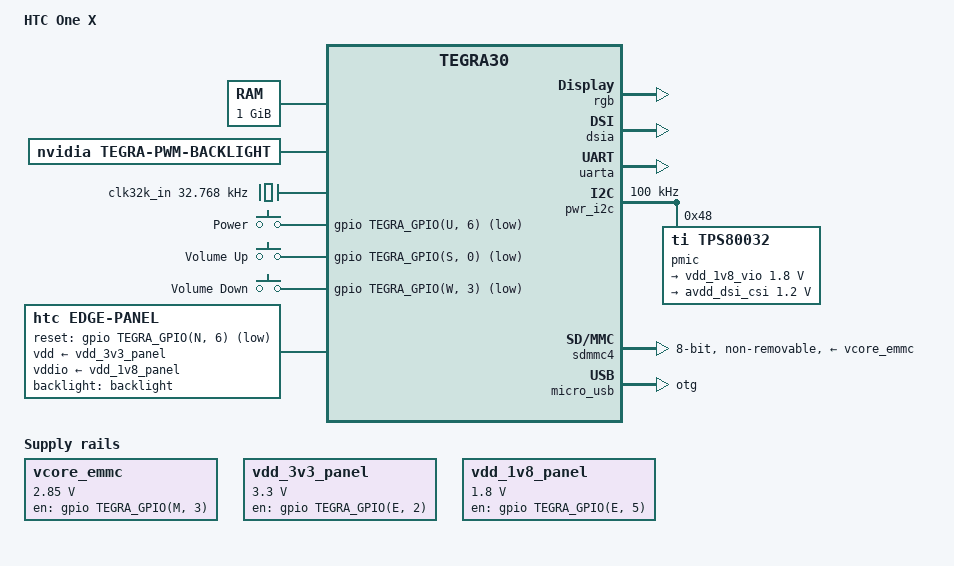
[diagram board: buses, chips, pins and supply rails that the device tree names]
// SPDX-License-Identifier: GPL-2.0
/dts-v1/;

/* This dts file describes the HTC One X smartphone */
/* CPU Speedo ID 4, Soc Speedo ID 1, CPU Process: 1, Core Process: 0 */

#include <dt-bindings/input/input.h>
#include "tegra30.dtsi"

/ {
	model = "HTC One X";
	compatible = "htc,endeavoru", "nvidia,tegra30";

	chosen {
		stdout-path = &uarta;
	};

	aliases {
		i2c0 = &pwr_i2c;

		mmc0 = &sdmmc4;	/* eMMC */

		rtc0 = &pmic;
		rtc1 = "/rtc@7000e000";

		usb0 = &micro_usb;
	};

	memory {
		device_type = "memory";
		reg = <0x80000000 0x40000000>;
	};

	host1x@50000000 {
		dc@54200000 {
			clocks = <&tegra_car TEGRA30_CLK_DISP1>,
				 <&tegra_car TEGRA30_CLK_PLL_D_OUT0>;

			rgb {
				status = "okay";

				nvidia,panel = <&dsia>;
			};
		};

		dsia: dsi@54300000 {
			status = "okay";

			avdd-dsi-csi-supply = <&avdd_dsi_csi>;

			panel = <&panel>;
		};
	};

	pinmux@70000868 {
		pinctrl-names = "default";
		pinctrl-0 = <&state_default>;

		state_default: pinmux {
			/* PORT A */
			clk_32k_out {
				nvidia,pins = "clk_32k_out_pa0";
				nvidia,function = "blink";
				nvidia,pull = <TEGRA_PIN_PULL_NONE>;
				nvidia,tristate = <TEGRA_PIN_DISABLE>;
				nvidia,enable-input = <TEGRA_PIN_DISABLE>;
			};
			bt_uart_cts {
				nvidia,pins = "uart3_cts_n_pa1";
				nvidia,function = "uartc";
				nvidia,pull = <TEGRA_PIN_PULL_UP>;
				nvidia,tristate = <TEGRA_PIN_DISABLE>;
				nvidia,enable-input = <TEGRA_PIN_ENABLE>;
			};
			aud_aic3008_i2s {
				nvidia,pins = "dap2_fs_pa2",
						"dap2_sclk_pa3",
						"dap2_din_pa4",
						"dap2_dout_pa5";
				nvidia,function = "i2s1";
				nvidia,pull = <TEGRA_PIN_PULL_DOWN>;
				nvidia,tristate = <TEGRA_PIN_DISABLE>;
				nvidia,enable-input = <TEGRA_PIN_ENABLE>;
			};
			wifi_sdio_clock {
				nvidia,pins = "sdmmc3_clk_pa6";
				nvidia,function = "sdmmc3";
				nvidia,pull = <TEGRA_PIN_PULL_NONE>;
				nvidia,tristate = <TEGRA_PIN_DISABLE>;
				nvidia,enable-input = <TEGRA_PIN_ENABLE>;
			};
			wifi_sdio_command {
				nvidia,pins = "sdmmc3_cmd_pa7";
				nvidia,function = "sdmmc3";
				nvidia,pull = <TEGRA_PIN_PULL_UP>;
				nvidia,tristate = <TEGRA_PIN_DISABLE>;
				nvidia,enable-input = <TEGRA_PIN_ENABLE>;
			};

			/* PORT B */
			mdm_imc_uart {
				nvidia,pins = "gmi_a17_pb0",
						"gmi_a18_pb1";
				nvidia,function = "uartd";
				nvidia,pull = <TEGRA_PIN_PULL_NONE>;
				nvidia,tristate = <TEGRA_PIN_DISABLE>;
				nvidia,enable-input = <TEGRA_PIN_ENABLE>;
			};
			aud_3v3_en {
				nvidia,pins = "lcd_pwr0_pb2",
						"lcd_pclk_pb3";
				nvidia,function = "displaya";
				nvidia,pull = <TEGRA_PIN_PULL_NONE>;
				nvidia,tristate = <TEGRA_PIN_DISABLE>;
				nvidia,enable-input = <TEGRA_PIN_ENABLE>;
			};
			wifi_sdio_data {
				nvidia,pins = "sdmmc3_dat3_pb4",
						"sdmmc3_dat2_pb5",
						"sdmmc3_dat1_pb6",
						"sdmmc3_dat0_pb7";
				nvidia,function = "sdmmc3";
				nvidia,pull = <TEGRA_PIN_PULL_UP>;
				nvidia,tristate = <TEGRA_PIN_DISABLE>;
				nvidia,enable-input = <TEGRA_PIN_ENABLE>;
			};

			/* PORT C */
			bt_uart_rts {
				nvidia,pins = "uart3_rts_n_pc0";
				nvidia,function = "uartc";
				nvidia,pull = <TEGRA_PIN_PULL_NONE>;
				nvidia,tristate = <TEGRA_PIN_DISABLE>;
				nvidia,enable-input = <TEGRA_PIN_DISABLE>;
			};
			mdm_ap2bb_rst_pwrdwn {
				nvidia,pins = "lcd_pwr1_pc1";
				nvidia,function = "rsvd4";
				nvidia,pull = <TEGRA_PIN_PULL_NONE>;
				nvidia,tristate = <TEGRA_PIN_DISABLE>;
				nvidia,enable-input = <TEGRA_PIN_DISABLE>;
			};
			cam_spi_clk_do {
				nvidia,pins = "uart2_txd_pc2",
						"uart2_rxd_pc3";
				nvidia,function = "spi4";
				nvidia,pull = <TEGRA_PIN_PULL_NONE>;
				nvidia,tristate = <TEGRA_PIN_DISABLE>;
				nvidia,enable-input = <TEGRA_PIN_ENABLE>;
			};
			per_sensor_i2c {
				nvidia,pins = "gen1_i2c_scl_pc4",
						"gen1_i2c_sda_pc5";
				nvidia,function = "i2c1";
				nvidia,pull = <TEGRA_PIN_PULL_NONE>;
				nvidia,tristate = <TEGRA_PIN_DISABLE>;
				nvidia,enable-input = <TEGRA_PIN_ENABLE>;
				nvidia,open-drain = <TEGRA_PIN_ENABLE>;
			};
			mdm_ap2bb_slave_wakeup {
				nvidia,pins = "lcd_pwr2_pc6";
				nvidia,function = "displaya";
				nvidia,pull = <TEGRA_PIN_PULL_NONE>;
				nvidia,tristate = <TEGRA_PIN_DISABLE>;
				nvidia,enable-input = <TEGRA_PIN_DISABLE>;
			};
			mhl_int {
				nvidia,pins = "gmi_wp_n_pc7";
				nvidia,function = "rsvd1";
				nvidia,pull = <TEGRA_PIN_PULL_UP>;
				nvidia,tristate = <TEGRA_PIN_DISABLE>;
				nvidia,enable-input = <TEGRA_PIN_ENABLE>;
			};

			/* PORT D */
			sdmmc3_data {
				nvidia,pins = "sdmmc3_dat5_pd0",
						"sdmmc3_dat4_pd1";
				nvidia,function = "sdmmc3";
				nvidia,pull = <TEGRA_PIN_PULL_UP>;
				nvidia,tristate = <TEGRA_PIN_DISABLE>;
				nvidia,enable-input = <TEGRA_PIN_ENABLE>;
			};
			aud_1v8_en {
				nvidia,pins = "lcd_dc1_pd2";
				nvidia,function = "rsvd4";
				nvidia,pull = <TEGRA_PIN_PULL_NONE>;
				nvidia,tristate = <TEGRA_PIN_DISABLE>;
				nvidia,enable-input = <TEGRA_PIN_ENABLE>;
			};
			sdmmc3_dat6_pd3 {
				nvidia,pins = "sdmmc3_dat6_pd3",
						"sdmmc3_dat7_pd4";
				nvidia,function = "rsvd1";
				nvidia,pull = <TEGRA_PIN_PULL_NONE>;
				nvidia,tristate = <TEGRA_PIN_DISABLE>;
				nvidia,enable-input = <TEGRA_PIN_ENABLE>;
			};

			/* PORT E */
			mhl_usb_sel {
				nvidia,pins = "lcd_d0_pe0";
				nvidia,function = "displaya";
				nvidia,pull = <TEGRA_PIN_PULL_NONE>;
				nvidia,tristate = <TEGRA_PIN_DISABLE>;
				nvidia,enable-input = <TEGRA_PIN_DISABLE>;
			};
			lcd_d1_pe1 {
				nvidia,pins = "lcd_d1_pe1";
				nvidia,function = "displaya";
				nvidia,pull = <TEGRA_PIN_PULL_NONE>;
				nvidia,tristate = <TEGRA_PIN_DISABLE>;
				nvidia,enable-input = <TEGRA_PIN_ENABLE>;
			};
			peh_cap_int {
				nvidia,pins = "lcd_d2_pe2";
				nvidia,function = "rsvd3";
				nvidia,pull = <TEGRA_PIN_PULL_NONE>;
				nvidia,tristate = <TEGRA_PIN_DISABLE>;
				nvidia,enable-input = <TEGRA_PIN_DISABLE>;
			};
			mhl_1v2_en {
				nvidia,pins = "lcd_d3_pe3",
						"lcd_d4_pe4";
				nvidia,function = "displaya";
				nvidia,pull = <TEGRA_PIN_PULL_NONE>;
				nvidia,tristate = <TEGRA_PIN_DISABLE>;
				nvidia,enable-input = <TEGRA_PIN_ENABLE>;
			};
			dsp_lcm_1v8_en {
				nvidia,pins = "lcd_d5_pe5";
				nvidia,function = "displaya";
				nvidia,pull = <TEGRA_PIN_PULL_NONE>;
				nvidia,tristate = <TEGRA_PIN_DISABLE>;
				nvidia,enable-input = <TEGRA_PIN_ENABLE>;
			};
			mhl_rst {
				nvidia,pins = "lcd_d6_pe6";
				nvidia,function = "rsvd3";
				nvidia,pull = <TEGRA_PIN_PULL_NONE>;
				nvidia,tristate = <TEGRA_PIN_DISABLE>;
				nvidia,enable-input = <TEGRA_PIN_ENABLE>;
			};
			peh_vibrator_on {
				nvidia,pins = "lcd_d7_pe7";
				nvidia,function = "displaya";
				nvidia,pull = <TEGRA_PIN_PULL_NONE>;
				nvidia,tristate = <TEGRA_PIN_DISABLE>;
				nvidia,enable-input = <TEGRA_PIN_ENABLE>;
			};

			/* PORT F */
			cam_vcm_2v85_pwr {
				nvidia,pins = "lcd_d8_pf0";
				nvidia,function = "rsvd4";
				nvidia,pull = <TEGRA_PIN_PULL_UP>;
				nvidia,tristate = <TEGRA_PIN_DISABLE>;
				nvidia,enable-input = <TEGRA_PIN_ENABLE>;
			};
			lcd_d9_d13 {
				nvidia,pins = "lcd_d9_pf1",
						"lcd_d10_pf2",
						"lcd_d11_pf3",
						"lcd_d12_pf4",
						"lcd_d13_pf5";
				nvidia,function = "displaya";
				nvidia,pull = <TEGRA_PIN_PULL_NONE>;
				nvidia,tristate = <TEGRA_PIN_DISABLE>;
				nvidia,enable-input = <TEGRA_PIN_ENABLE>;
			};
			cam_cam2_core_1v8_en {
				nvidia,pins = "lcd_d14_pf6";
				nvidia,function = "rsvd4";
				nvidia,pull = <TEGRA_PIN_PULL_NONE>;
				nvidia,tristate = <TEGRA_PIN_DISABLE>;
				nvidia,enable-input = <TEGRA_PIN_ENABLE>;
			};
			sys_pmu_msecure {
				nvidia,pins = "lcd_d15_pf7";
				nvidia,function = "rsvd4";
				nvidia,pull = <TEGRA_PIN_PULL_NONE>;
				nvidia,tristate = <TEGRA_PIN_DISABLE>;
				nvidia,enable-input = <TEGRA_PIN_DISABLE>;
			};

			/* PORT G */
			bootstraps {
				nvidia,pins = "gmi_ad0_pg0",
						"gmi_ad1_pg1",
						"gmi_ad2_pg2",
						"gmi_ad3_pg3",
						"gmi_ad4_pg4",
						"gmi_ad5_pg5",
						"gmi_ad6_pg6",
						"gmi_ad7_pg7";
				nvidia,function = "rsvd4";
				nvidia,pull = <TEGRA_PIN_PULL_NONE>;
				nvidia,tristate = <TEGRA_PIN_DISABLE>;
				nvidia,enable-input = <TEGRA_PIN_ENABLE>;
			};

			/* PORT H */
			haptic_pwm {
				nvidia,pins = "gmi_ad8_ph0";
				nvidia,function = "pwm0";
				nvidia,pull = <TEGRA_PIN_PULL_NONE>;
				nvidia,tristate = <TEGRA_PIN_DISABLE>;
				nvidia,enable-input = <TEGRA_PIN_DISABLE>;
			};
			gmi_ad9 {
				nvidia,pins = "gmi_ad9_ph1";
				nvidia,function = "rsvd4";
				nvidia,pull = <TEGRA_PIN_PULL_NONE>;
				nvidia,tristate = <TEGRA_PIN_DISABLE>;
				nvidia,enable-input = <TEGRA_PIN_ENABLE>;
			};
			gmi_ad10 {
				nvidia,pins = "gmi_ad10_ph2";
				nvidia,function = "nand";
				nvidia,pull = <TEGRA_PIN_PULL_NONE>;
				nvidia,tristate = <TEGRA_PIN_DISABLE>;
				nvidia,enable-input = <TEGRA_PIN_DISABLE>;
			};
			dsp_tp_rst {
				nvidia,pins = "gmi_ad11_ph3",
						"gmi_ad12_ph4",
						"gmi_ad13_ph5",
						"gmi_ad14_ph6";
				nvidia,function = "rsvd4";
				nvidia,pull = <TEGRA_PIN_PULL_NONE>;
				nvidia,tristate = <TEGRA_PIN_DISABLE>;
				nvidia,enable-input = <TEGRA_PIN_ENABLE>;
			};
			gmi_ad15 {
				nvidia,pins = "gmi_ad15_ph7";
				nvidia,function = "nand";
				nvidia,pull = <TEGRA_PIN_PULL_UP>;
				nvidia,tristate = <TEGRA_PIN_ENABLE>;
				nvidia,enable-input = <TEGRA_PIN_ENABLE>;
			};

			/* PORT I */
			gmi_wr_n {
				nvidia,pins = "gmi_wr_n_pi0",
						"gmi_oe_n_pi1",
						"gmi_dqs_pi2",
						"gmi_cs6_n_pi3";
				nvidia,function = "rsvd4";
				nvidia,pull = <TEGRA_PIN_PULL_NONE>;
				nvidia,tristate = <TEGRA_PIN_DISABLE>;
				nvidia,enable-input = <TEGRA_PIN_ENABLE>;
			};
			gmi_rst_n_pi4 {
				nvidia,pins = "gmi_rst_n_pi4";
				nvidia,function = "rsvd4";
				nvidia,pull = <TEGRA_PIN_PULL_UP>;
				nvidia,tristate = <TEGRA_PIN_ENABLE>;
				nvidia,enable-input = <TEGRA_PIN_ENABLE>;
			};
			sim_detect {
				nvidia,pins = "gmi_iordy_pi5";
				nvidia,function = "rsvd1";
				nvidia,pull = <TEGRA_PIN_PULL_NONE>;
				nvidia,tristate = <TEGRA_PIN_ENABLE>;
				nvidia,enable-input = <TEGRA_PIN_ENABLE>;
			};
			peh_gyr_int {
				nvidia,pins = "gmi_cs7_n_pi6",
						"gmi_wait_pi7";
				nvidia,function = "rsvd4";
				nvidia,pull = <TEGRA_PIN_PULL_NONE>;
				nvidia,tristate = <TEGRA_PIN_DISABLE>;
				nvidia,enable-input = <TEGRA_PIN_ENABLE>;
			};

			/* PORT J */
			mdm_bb2ap_host_wakeup {
				nvidia,pins = "gmi_cs0_n_pj0";
				nvidia,function = "gmi";
				nvidia,pull = <TEGRA_PIN_PULL_NONE>;
				nvidia,tristate = <TEGRA_PIN_DISABLE>;
				nvidia,enable-input = <TEGRA_PIN_ENABLE>;
			};
			dsp_lcm_de {
				nvidia,pins = "lcd_de_pj1";
				nvidia,function = "displaya";
				nvidia,pull = <TEGRA_PIN_PULL_NONE>;
				nvidia,tristate = <TEGRA_PIN_DISABLE>;
				nvidia,enable-input = <TEGRA_PIN_ENABLE>;
			};
			peh_comp_int {
				nvidia,pins = "gmi_cs1_n_pj2";
				nvidia,function = "rsvd1";
				nvidia,pull = <TEGRA_PIN_PULL_NONE>;
				nvidia,tristate = <TEGRA_PIN_DISABLE>;
				nvidia,enable-input = <TEGRA_PIN_ENABLE>;
			};
			lcd_hsync {
				nvidia,pins = "lcd_hsync_pj3";
				nvidia,function = "displaya";
				nvidia,pull = <TEGRA_PIN_PULL_NONE>;
				nvidia,tristate = <TEGRA_PIN_DISABLE>;
				nvidia,enable-input = <TEGRA_PIN_ENABLE>;
			};
			mdm_ap_usb_uart_oe {
				nvidia,pins = "lcd_vsync_pj4";
				nvidia,function = "displaya";
				nvidia,pull = <TEGRA_PIN_PULL_DOWN>;
				nvidia,tristate = <TEGRA_PIN_DISABLE>;
				nvidia,enable-input = <TEGRA_PIN_ENABLE>;
			};
			mcam_spi_di_cs0 {
				nvidia,pins = "uart2_cts_n_pj5",
						"uart2_rts_n_pj6";
				nvidia,function = "spi4";
				nvidia,pull = <TEGRA_PIN_PULL_NONE>;
				nvidia,tristate = <TEGRA_PIN_DISABLE>;
				nvidia,enable-input = <TEGRA_PIN_ENABLE>;
			};
			mdm_tx {
				nvidia,pins = "gmi_a16_pj7";
				nvidia,function = "uartd";
				nvidia,pull = <TEGRA_PIN_PULL_NONE>;
				nvidia,tristate = <TEGRA_PIN_DISABLE>;
				nvidia,enable-input = <TEGRA_PIN_DISABLE>;
			};

			/* PORT K */
			gmi_adv_n {
				nvidia,pins = "gmi_adv_n_pk0",
						"gmi_clk_pk1",
						"gmi_cs2_n_pk3";
				nvidia,function = "rsvd4";
				nvidia,pull = <TEGRA_PIN_PULL_NONE>;
				nvidia,tristate = <TEGRA_PIN_DISABLE>;
				nvidia,enable-input = <TEGRA_PIN_ENABLE>;
			};
			gmi_cs4_n {
				nvidia,pins = "gmi_cs4_n_pk2";
				nvidia,function = "rsvd4";
				nvidia,pull = <TEGRA_PIN_PULL_UP>;
				nvidia,tristate = <TEGRA_PIN_DISABLE>;
				nvidia,enable-input = <TEGRA_PIN_ENABLE>;
			};
			gmi_cs3_n {
				nvidia,pins = "gmi_cs3_n_pk4";
				nvidia,function = "rsvd1";
				nvidia,pull = <TEGRA_PIN_PULL_NONE>;
				nvidia,tristate = <TEGRA_PIN_DISABLE>;
				nvidia,enable-input = <TEGRA_PIN_ENABLE>;
			};
			spdif_out {
				nvidia,pins = "spdif_out_pk5";
				nvidia,function = "spdif";
				nvidia,pull = <TEGRA_PIN_PULL_NONE>;
				nvidia,tristate = <TEGRA_PIN_ENABLE>;
				nvidia,enable-input = <TEGRA_PIN_DISABLE>;
			};
			spdif_in {
				nvidia,pins = "spdif_in_pk6";
				nvidia,function = "spdif";
				nvidia,pull = <TEGRA_PIN_PULL_NONE>;
				nvidia,tristate = <TEGRA_PIN_ENABLE>;
				nvidia,enable-input = <TEGRA_PIN_ENABLE>;
			};
			mdm_rts {
				nvidia,pins = "gmi_a19_pk7";
				nvidia,function = "uartd";
				nvidia,pull = <TEGRA_PIN_PULL_NONE>;
				nvidia,tristate = <TEGRA_PIN_DISABLE>;
				nvidia,enable-input = <TEGRA_PIN_DISABLE>;
			};

			/* PORT L */
			port_l {
				nvidia,pins = "vi_d2_pl0",
						"vi_d3_pl1",
						"vi_d4_pl2",
						"vi_d5_pl3",
						"vi_d6_pl4",
						"vi_d7_pl5",
						"vi_d8_pl6",
						"vi_d9_pl7";
				nvidia,function = "sdmmc2";
				nvidia,pull = <TEGRA_PIN_PULL_NONE>;
				nvidia,tristate = <TEGRA_PIN_DISABLE>;
				nvidia,enable-input = <TEGRA_PIN_ENABLE>;
			};

			/* PORT M */
			dsp_lcd_id {
				nvidia,pins = "lcd_d16_pm0",
						"lcd_d17_pm1";
				nvidia,function = "displaya";
				nvidia,pull = <TEGRA_PIN_PULL_NONE>;
				nvidia,tristate = <TEGRA_PIN_DISABLE>;
				nvidia,enable-input = <TEGRA_PIN_ENABLE>;
			};
			front_cam_rst {
				nvidia,pins = "lcd_d18_pm2";
				nvidia,function = "rsvd4";
				nvidia,pull = <TEGRA_PIN_PULL_NONE>;
				nvidia,tristate = <TEGRA_PIN_DISABLE>;
				nvidia,enable-input = <TEGRA_PIN_ENABLE>;
			};
			mdm_v_dcin_modem_en {
				nvidia,pins = "lcd_d19_pm3",
						"lcd_d20_pm4";
				nvidia,function = "rsvd4";
				nvidia,pull = <TEGRA_PIN_PULL_NONE>;
				nvidia,tristate = <TEGRA_PIN_DISABLE>;
				nvidia,enable-input = <TEGRA_PIN_DISABLE>;
			};
			nfc_pins {
				nvidia,pins = "lcd_d21_pm5",
						"lcd_d22_pm6";
				nvidia,function = "rsvd4";
				nvidia,pull = <TEGRA_PIN_PULL_NONE>;
				nvidia,tristate = <TEGRA_PIN_DISABLE>;
				nvidia,enable-input = <TEGRA_PIN_DISABLE>;
			};
			cam_vaa_2v85_en {
				nvidia,pins = "lcd_d23_pm7";
				nvidia,function = "rsvd4";
				nvidia,pull = <TEGRA_PIN_PULL_NONE>;
				nvidia,tristate = <TEGRA_PIN_DISABLE>;
				nvidia,enable-input = <TEGRA_PIN_ENABLE>;
			};

			/* PORT N */
			mdm_ap2bb_rst_host_pwr {
				nvidia,pins = "dap1_fs_pn0",
						"dap1_din_pn1",
						"dap1_sclk_pn3";
				nvidia,function = "i2s0";
				nvidia,pull = <TEGRA_PIN_PULL_NONE>;
				nvidia,tristate = <TEGRA_PIN_ENABLE>;
				nvidia,enable-input = <TEGRA_PIN_DISABLE>;
			};
			mdm_bb_fatal_int {
				nvidia,pins = "dap1_dout_pn2";
				nvidia,function = "i2s0";
				nvidia,pull = <TEGRA_PIN_PULL_NONE>;
				nvidia,tristate = <TEGRA_PIN_ENABLE>;
				nvidia,enable-input = <TEGRA_PIN_ENABLE>;
			};
			lcd_cs0_n {
				nvidia,pins = "lcd_cs0_n_pn4";
				nvidia,function = "rsvd4";
				nvidia,pull = <TEGRA_PIN_PULL_NONE>;
				nvidia,tristate = <TEGRA_PIN_DISABLE>;
				nvidia,enable-input = <TEGRA_PIN_ENABLE>;
			};
			lcd_sdout {
				nvidia,pins = "lcd_sdout_pn5";
				nvidia,function = "displaya";
				nvidia,pull = <TEGRA_PIN_PULL_NONE>;
				nvidia,tristate = <TEGRA_PIN_DISABLE>;
				nvidia,enable-input = <TEGRA_PIN_ENABLE>;
			};
			dsp_lcd_rst {
				nvidia,pins = "lcd_dc0_pn6";
				nvidia,function = "displaya";
				nvidia,pull = <TEGRA_PIN_PULL_NONE>;
				nvidia,tristate = <TEGRA_PIN_DISABLE>;
				nvidia,enable-input = <TEGRA_PIN_ENABLE>;
			};
			mhl_hpd {
				nvidia,pins = "hdmi_int_pn7";
				nvidia,function = "rsvd1";
				nvidia,pull = <TEGRA_PIN_PULL_NONE>;
				nvidia,tristate = <TEGRA_PIN_ENABLE>;
				nvidia,enable-input = <TEGRA_PIN_ENABLE>;
			};

			/* PORT O */
			ap_usb_uart_sel {
				nvidia,pins = "ulpi_data7_po0";
				nvidia,function = "spi2";
				nvidia,pull = <TEGRA_PIN_PULL_NONE>;
				nvidia,tristate = <TEGRA_PIN_DISABLE>;
				nvidia,enable-input = <TEGRA_PIN_ENABLE>;
			};
			bsp_ap_debug_tx {
				nvidia,pins = "ulpi_data0_po1";
				nvidia,function = "uarta";
				nvidia,pull = <TEGRA_PIN_PULL_NONE>;
				nvidia,tristate = <TEGRA_PIN_DISABLE>;
				nvidia,enable-input = <TEGRA_PIN_DISABLE>;
			};
			bsp_ap_debug_rx {
				nvidia,pins = "ulpi_data1_po2";
				nvidia,function = "uarta";
				nvidia,pull = <TEGRA_PIN_PULL_NONE>;
				nvidia,tristate = <TEGRA_PIN_DISABLE>;
				nvidia,enable-input = <TEGRA_PIN_ENABLE>;
			};
			ulpi_data2 {
				nvidia,pins = "ulpi_data2_po3";
				nvidia,function = "spi3";
				nvidia,pull = <TEGRA_PIN_PULL_NONE>;
				nvidia,tristate = <TEGRA_PIN_DISABLE>;
				nvidia,enable-input = <TEGRA_PIN_ENABLE>;
			};
			con_wifi_irq {
				nvidia,pins = "ulpi_data3_po4";
				nvidia,function = "hsi";
				nvidia,pull = <TEGRA_PIN_PULL_NONE>;
				nvidia,tristate = <TEGRA_PIN_DISABLE>;
				nvidia,enable-input = <TEGRA_PIN_ENABLE>;
			};
			per_gsensor_int {
				nvidia,pins = "ulpi_data4_po5";
				nvidia,function = "ulpi";
				nvidia,pull = <TEGRA_PIN_PULL_DOWN>;
				nvidia,tristate = <TEGRA_PIN_DISABLE>;
				nvidia,enable-input = <TEGRA_PIN_ENABLE>;
			};
			ulpi_data5_data6 {
				nvidia,pins = "ulpi_data5_po6",
						"ulpi_data6_po7";
				nvidia,function = "ulpi";
				nvidia,pull = <TEGRA_PIN_PULL_NONE>;
				nvidia,tristate = <TEGRA_PIN_DISABLE>;
				nvidia,enable-input = <TEGRA_PIN_ENABLE>;
			};

			/* PORT P */
			aud_ap_pcm {
				nvidia,pins = "dap3_fs_pp0",
						"dap3_din_pp1",
						"dap3_dout_pp2",
						"dap3_sclk_pp3";
				nvidia,function = "i2s2";
				nvidia,pull = <TEGRA_PIN_PULL_NONE>;
				nvidia,tristate = <TEGRA_PIN_DISABLE>;
				nvidia,enable-input = <TEGRA_PIN_ENABLE>;
			};
			aud_btpcm {
				nvidia,pins = "dap4_fs_pp4",
						"dap4_din_pp5";
				nvidia,function = "i2s3";
				nvidia,pull = <TEGRA_PIN_PULL_DOWN>;
				nvidia,tristate = <TEGRA_PIN_DISABLE>;
				nvidia,enable-input = <TEGRA_PIN_ENABLE>;
			};
			aud_ext {
				nvidia,pins = "dap4_dout_pp6",
						"dap4_sclk_pp7";
				nvidia,function = "rsvd4";
				nvidia,pull = <TEGRA_PIN_PULL_NONE>;
				nvidia,tristate = <TEGRA_PIN_DISABLE>;
				nvidia,enable-input = <TEGRA_PIN_DISABLE>;
			};

			/* PORT Q */
			port_q {
				nvidia,pins = "kb_col0_pq0",
						"kb_col1_pq1",
						"kb_col2_pq2",
						"kb_col3_pq3",
						"kb_col4_pq4",
						"kb_col5_pq5",
						"kb_col6_pq6",
						"kb_col7_pq7";
				nvidia,function = "kbc";
				nvidia,pull = <TEGRA_PIN_PULL_UP>;
				nvidia,tristate = <TEGRA_PIN_DISABLE>;
				nvidia,enable-input = <TEGRA_PIN_ENABLE>;
			};

			/* PORT R */
			raw_intr0 {
				nvidia,pins = "kb_row0_pr0";
				nvidia,function = "kbc";
				nvidia,pull = <TEGRA_PIN_PULL_NONE>;
				nvidia,tristate = <TEGRA_PIN_ENABLE>;
				nvidia,enable-input = <TEGRA_PIN_ENABLE>;
			};
			per_torch_en {
				nvidia,pins = "kb_row1_pr1";
				nvidia,function = "kbc";
				nvidia,pull = <TEGRA_PIN_PULL_NONE>;
				nvidia,tristate = <TEGRA_PIN_DISABLE>;
				nvidia,enable-input = <TEGRA_PIN_DISABLE>;
			};
			gyro_pwr {
				nvidia,pins = "kb_row2_pr2";
				nvidia,function = "rsvd4";
				nvidia,pull = <TEGRA_PIN_PULL_NONE>;
				nvidia,tristate = <TEGRA_PIN_DISABLE>;
				nvidia,enable-input = <TEGRA_PIN_DISABLE>;
			};
			haptic_en {
				nvidia,pins = "kb_row3_pr3";
				nvidia,function = "rsvd3";
				nvidia,pull = <TEGRA_PIN_PULL_NONE>;
				nvidia,tristate = <TEGRA_PIN_DISABLE>;
				nvidia,enable-input = <TEGRA_PIN_ENABLE>;
			};
			kb_row4_row5 {
				nvidia,pins = "kb_row4_pr4",
						"kb_row5_pr5";
				nvidia,function = "rsvd4";
				nvidia,pull = <TEGRA_PIN_PULL_NONE>;
				nvidia,tristate = <TEGRA_PIN_DISABLE>;
				nvidia,enable-input = <TEGRA_PIN_ENABLE>;
			};
			cam_id {
				nvidia,pins = "kb_row6_pr6",
						"kb_row7_pr7";
				nvidia,function = "kbc";
				nvidia,pull = <TEGRA_PIN_PULL_NONE>;
				nvidia,tristate = <TEGRA_PIN_ENABLE>;
				nvidia,enable-input = <TEGRA_PIN_ENABLE>;
			};

			/* PORT S */
			dsp_vol_up {
				nvidia,pins = "kb_row8_ps0";
				nvidia,function = "kbc";
				nvidia,pull = <TEGRA_PIN_PULL_UP>;
				nvidia,tristate = <TEGRA_PIN_DISABLE>;
				nvidia,enable-input = <TEGRA_PIN_ENABLE>;
			};
			con_usb_id_1 {
				nvidia,pins = "kb_row9_ps1",
						"kb_row10_ps2";
				nvidia,function = "kbc";
				nvidia,pull = <TEGRA_PIN_PULL_NONE>;
				nvidia,tristate = <TEGRA_PIN_DISABLE>;
				nvidia,enable-input = <TEGRA_PIN_ENABLE>;
			};
			port_s {
				nvidia,pins = "kb_row11_ps3",
						"kb_row12_ps4",
						"kb_row13_ps5",
						"kb_row14_ps6",
						"kb_row15_ps7";
				nvidia,function = "kbc";
				nvidia,pull = <TEGRA_PIN_PULL_NONE>;
				nvidia,tristate = <TEGRA_PIN_DISABLE>;
				nvidia,enable-input = <TEGRA_PIN_ENABLE>;
			};

			/* PORT T */
			dsp_tw_i2c {
				nvidia,pins = "gen2_i2c_scl_pt5",
						"gen2_i2c_sda_pt6";
				nvidia,function = "i2c2";
				nvidia,pull = <TEGRA_PIN_PULL_NONE>;
				nvidia,tristate = <TEGRA_PIN_DISABLE>;
				nvidia,enable-input = <TEGRA_PIN_ENABLE>;
				nvidia,open-drain = <TEGRA_PIN_ENABLE>;
			};
			per_emmc_cmd {
				nvidia,pins = "sdmmc4_cmd_pt7";
				nvidia,function = "sdmmc4";
				nvidia,pull = <TEGRA_PIN_PULL_UP>;
				nvidia,tristate = <TEGRA_PIN_DISABLE>;
				nvidia,enable-input = <TEGRA_PIN_ENABLE>;
			};

			/* PORT U */
			con_bt_en {
				nvidia,pins = "pu0", "pu1", "pu2",
						"pu3", "pu4";
				nvidia,function = "rsvd4";
				nvidia,pull = <TEGRA_PIN_PULL_NONE>;
				nvidia,tristate = <TEGRA_PIN_DISABLE>;
				nvidia,enable-input = <TEGRA_PIN_ENABLE>;
			};
			per_capsensor_int_cpu {
				nvidia,pins = "pu5";
				nvidia,function = "rsvd4";
				nvidia,pull = <TEGRA_PIN_PULL_UP>;
				nvidia,tristate = <TEGRA_PIN_DISABLE>;
				nvidia,enable-input = <TEGRA_PIN_ENABLE>;
			};
			dsp_ap_kpdpwr {
				nvidia,pins = "pu6";
				nvidia,function = "pwm3";
				nvidia,pull = <TEGRA_PIN_PULL_UP>;
				nvidia,tristate = <TEGRA_PIN_ENABLE>;
				nvidia,enable-input = <TEGRA_PIN_ENABLE>;
			};
			jtag_rtck {
				nvidia,pins = "jtag_rtck_pu7";
				nvidia,function = "rtck";
				nvidia,pull = <TEGRA_PIN_PULL_UP>;
				nvidia,tristate = <TEGRA_PIN_DISABLE>;
				nvidia,enable-input = <TEGRA_PIN_ENABLE>;
			};

			/* PORT V */
			mdm_bb2ap_suspend_req {
				nvidia,pins = "pv0";
				nvidia,function = "rsvd1";
				nvidia,pull = <TEGRA_PIN_PULL_NONE>;
				nvidia,tristate = <TEGRA_PIN_DISABLE>;
				nvidia,enable-input = <TEGRA_PIN_ENABLE>;
			};
			dsp_tp_att {
				nvidia,pins = "pv1";
				nvidia,function = "rsvd1";
				nvidia,pull = <TEGRA_PIN_PULL_NONE>;
				nvidia,tristate = <TEGRA_PIN_DISABLE>;
				nvidia,enable-input = <TEGRA_PIN_ENABLE>;
			};
			con_wifi_en {
				nvidia,pins = "pv2", "pv3";
				nvidia,function = "rsvd2";
				nvidia,pull = <TEGRA_PIN_PULL_NONE>;
				nvidia,tristate = <TEGRA_PIN_DISABLE>;
				nvidia,enable-input = <TEGRA_PIN_DISABLE>;
			};
			mhl_ddc {
				nvidia,pins = "ddc_scl_pv4",
						"ddc_sda_pv5";
				nvidia,function = "i2c4";
				nvidia,pull = <TEGRA_PIN_PULL_NONE>;
				nvidia,tristate = <TEGRA_PIN_DISABLE>;
				nvidia,enable-input = <TEGRA_PIN_ENABLE>;
			};
			crt_hsync {
				nvidia,pins = "crt_hsync_pv6";
				nvidia,function = "crt";
				nvidia,pull = <TEGRA_PIN_PULL_NONE>;
				nvidia,tristate = <TEGRA_PIN_DISABLE>;
				nvidia,enable-input = <TEGRA_PIN_ENABLE>;
			};
			crt_vsync {
				nvidia,pins = "crt_vsync_pv7";
				nvidia,function = "rsvd4";
				nvidia,pull = <TEGRA_PIN_PULL_NONE>;
				nvidia,tristate = <TEGRA_PIN_DISABLE>;
				nvidia,enable-input = <TEGRA_PIN_DISABLE>;
			};

			/* PORT W */
			pwr_chg_stat {
				nvidia,pins = "lcd_cs1_n_pw0";
				nvidia,function = "rsvd4";
				nvidia,pull = <TEGRA_PIN_PULL_UP>;
				nvidia,tristate = <TEGRA_PIN_DISABLE>;
				nvidia,enable-input = <TEGRA_PIN_ENABLE>;
			};
			dsp_bl_pwm_cpu {
				nvidia,pins = "lcd_m1_pw1";
				nvidia,function = "displaya";
				nvidia,pull = <TEGRA_PIN_PULL_NONE>;
				nvidia,tristate = <TEGRA_PIN_DISABLE>;
				nvidia,enable-input = <TEGRA_PIN_DISABLE>;
			};
			aud_hp_det {
				nvidia,pins = "spi2_cs1_n_pw2";
				nvidia,function = "spi2";
				nvidia,pull = <TEGRA_PIN_PULL_UP>;
				nvidia,tristate = <TEGRA_PIN_DISABLE>;
				nvidia,enable-input = <TEGRA_PIN_ENABLE>;
			};
			dsp_vol_down {
				nvidia,pins = "spi2_cs2_n_pw3";
				nvidia,function = "spi2";
				nvidia,pull = <TEGRA_PIN_PULL_UP>;
				nvidia,tristate = <TEGRA_PIN_ENABLE>;
				nvidia,enable-input = <TEGRA_PIN_ENABLE>;
			};
			aud_mclk {
				nvidia,pins = "clk1_out_pw4";
				nvidia,function = "rsvd4";
				nvidia,pull = <TEGRA_PIN_PULL_NONE>;
				nvidia,tristate = <TEGRA_PIN_DISABLE>;
				nvidia,enable-input = <TEGRA_PIN_ENABLE>;
			};
			aud_aic3008_rst {
				nvidia,pins = "clk2_out_pw5";
				nvidia,function = "rsvd4";
				nvidia,pull = <TEGRA_PIN_PULL_NONE>;
				nvidia,tristate = <TEGRA_PIN_DISABLE>;
				nvidia,enable-input = <TEGRA_PIN_ENABLE>;
			};
			con_bt_tx {
				nvidia,pins = "uart3_txd_pw6";
				nvidia,function = "uartc";
				nvidia,pull = <TEGRA_PIN_PULL_NONE>;
				nvidia,tristate = <TEGRA_PIN_DISABLE>;
				nvidia,enable-input = <TEGRA_PIN_DISABLE>;
			};
			con_bt_rx {
				nvidia,pins = "uart3_rxd_pw7";
				nvidia,function = "uartc";
				nvidia,pull = <TEGRA_PIN_PULL_UP>;
				nvidia,tristate = <TEGRA_PIN_DISABLE>;
				nvidia,enable-input = <TEGRA_PIN_ENABLE>;
			};

			/* PORT X */
			aud_spi_do {
				nvidia,pins = "spi2_mosi_px0",
						"spi2_sck_px2",
						"spi2_cs0_n_px3";
				nvidia,function = "spi2";
				nvidia,pull = <TEGRA_PIN_PULL_NONE>;
				nvidia,tristate = <TEGRA_PIN_DISABLE>;
				nvidia,enable-input = <TEGRA_PIN_DISABLE>;
			};
			aud_spi_di {
				nvidia,pins = "spi2_miso_px1";
				nvidia,function = "spi2";
				nvidia,pull = <TEGRA_PIN_PULL_NONE>;
				nvidia,tristate = <TEGRA_PIN_DISABLE>;
				nvidia,enable-input = <TEGRA_PIN_ENABLE>;
			};
			spi1_mosi {
				nvidia,pins = "spi1_mosi_px4";
				nvidia,function = "spi1";
				nvidia,pull = <TEGRA_PIN_PULL_NONE>;
				nvidia,tristate = <TEGRA_PIN_DISABLE>;
				nvidia,enable-input = <TEGRA_PIN_ENABLE>;
			};
			pwr_chg_int {
				nvidia,pins = "spi1_sck_px5";
				nvidia,function = "spi2";
				nvidia,pull = <TEGRA_PIN_PULL_UP>;
				nvidia,tristate = <TEGRA_PIN_DISABLE>;
				nvidia,enable-input = <TEGRA_PIN_ENABLE>;
			};
			spi1_cs0_n {
				nvidia,pins = "spi1_cs0_n_px6";
				nvidia,function = "spi1";
				nvidia,pull = <TEGRA_PIN_PULL_NONE>;
				nvidia,tristate = <TEGRA_PIN_DISABLE>;
				nvidia,enable-input = <TEGRA_PIN_ENABLE>;
			};
			audio_mclk_en {
				nvidia,pins = "spi1_miso_px7";
				nvidia,function = "rsvd4";
				nvidia,pull = <TEGRA_PIN_PULL_NONE>;
				nvidia,tristate = <TEGRA_PIN_DISABLE>;
				nvidia,enable-input = <TEGRA_PIN_DISABLE>;
			};

			/* PORT Y */
			led_drv_en_trig {
				nvidia,pins = "ulpi_clk_py0",
						"ulpi_dir_py1";
				nvidia,function = "rsvd2";
				nvidia,pull = <TEGRA_PIN_PULL_NONE>;
				nvidia,tristate = <TEGRA_PIN_DISABLE>;
				nvidia,enable-input = <TEGRA_PIN_DISABLE>;
			};
			mhl_3v3_en {
				nvidia,pins = "ulpi_nxt_py2";
				nvidia,function = "ulpi";
				nvidia,pull = <TEGRA_PIN_PULL_NONE>;
				nvidia,tristate = <TEGRA_PIN_DISABLE>;
				nvidia,enable-input = <TEGRA_PIN_DISABLE>;
			};
			peh_v_srio_1v8_en {
				nvidia,pins = "ulpi_stp_py3";
				nvidia,function = "ulpi";
				nvidia,pull = <TEGRA_PIN_PULL_NONE>;
				nvidia,tristate = <TEGRA_PIN_DISABLE>;
				nvidia,enable-input = <TEGRA_PIN_ENABLE>;
			};
			aud_remo_tx {
				nvidia,pins = "sdmmc1_dat3_py4";
				nvidia,function = "uarte";
				nvidia,pull = <TEGRA_PIN_PULL_NONE>;
				nvidia,tristate = <TEGRA_PIN_DISABLE>;
				nvidia,enable-input = <TEGRA_PIN_DISABLE>;
			};
			aud_remo_rx {
				nvidia,pins = "sdmmc1_dat2_py5";
				nvidia,function = "uarte";
				nvidia,pull = <TEGRA_PIN_PULL_NONE>;
				nvidia,tristate = <TEGRA_PIN_DISABLE>;
				nvidia,enable-input = <TEGRA_PIN_ENABLE>;
			};
			nfc_irq {
				nvidia,pins = "sdmmc1_dat1_py6";
				nvidia,function = "rsvd2";
				nvidia,pull = <TEGRA_PIN_PULL_DOWN>;
				nvidia,tristate = <TEGRA_PIN_ENABLE>;
				nvidia,enable-input = <TEGRA_PIN_ENABLE>;
			};
			testpoint1 {
				nvidia,pins = "sdmmc1_dat0_py7";
				nvidia,function = "sdmmc1";
				nvidia,pull = <TEGRA_PIN_PULL_UP>;
				nvidia,tristate = <TEGRA_PIN_DISABLE>;
				nvidia,enable-input = <TEGRA_PIN_ENABLE>;
			};

			/* PORT Z */
			aud_remo_oe {
				nvidia,pins = "sdmmc1_clk_pz0";
				nvidia,function = "sdmmc1";
				nvidia,pull = <TEGRA_PIN_PULL_NONE>;
				nvidia,tristate = <TEGRA_PIN_DISABLE>;
				nvidia,enable-input = <TEGRA_PIN_DISABLE>;
			};
			testpoint2 {
				nvidia,pins = "sdmmc1_cmd_pz1";
				nvidia,function = "sdmmc1";
				nvidia,pull = <TEGRA_PIN_PULL_UP>;
				nvidia,tristate = <TEGRA_PIN_DISABLE>;
				nvidia,enable-input = <TEGRA_PIN_ENABLE>;
			};
			mdm_usb_uart_oe {
				nvidia,pins = "lcd_sdin_pz2";
				nvidia,function = "displaya";
				nvidia,pull = <TEGRA_PIN_PULL_NONE>;
				nvidia,tristate = <TEGRA_PIN_DISABLE>;
				nvidia,enable-input = <TEGRA_PIN_ENABLE>;
			};
			lcd_wr_n {
				nvidia,pins = "lcd_wr_n_pz3";
				nvidia,function = "displaya";
				nvidia,pull = <TEGRA_PIN_PULL_NONE>;
				nvidia,tristate = <TEGRA_PIN_DISABLE>;
				nvidia,enable-input = <TEGRA_PIN_ENABLE>;
			};
			lcd_sck {
				nvidia,pins = "lcd_sck_pz4";
				nvidia,function = "displaya";
				nvidia,pull = <TEGRA_PIN_PULL_UP>;
				nvidia,tristate = <TEGRA_PIN_ENABLE>;
				nvidia,enable-input = <TEGRA_PIN_DISABLE>;
			};
			sys_clk_req {
				nvidia,pins = "sys_clk_req_pz5";
				nvidia,function = "sysclk";
				nvidia,pull = <TEGRA_PIN_PULL_NONE>;
				nvidia,tristate = <TEGRA_PIN_DISABLE>;
				nvidia,enable-input = <TEGRA_PIN_DISABLE>;
			};
			sys_pwr_i2c {
				nvidia,pins = "pwr_i2c_scl_pz6",
						"pwr_i2c_sda_pz7";
				nvidia,function = "i2cpwr";
				nvidia,pull = <TEGRA_PIN_PULL_NONE>;
				nvidia,tristate = <TEGRA_PIN_DISABLE>;
				nvidia,enable-input = <TEGRA_PIN_ENABLE>;
				nvidia,open-drain = <TEGRA_PIN_ENABLE>;
			};

			/* PORT AA */
			bsp_emmc {
				nvidia,pins = "sdmmc4_dat0_paa0",
						"sdmmc4_dat1_paa1",
						"sdmmc4_dat2_paa2",
						"sdmmc4_dat3_paa3",
						"sdmmc4_dat4_paa4",
						"sdmmc4_dat5_paa5",
						"sdmmc4_dat6_paa6",
						"sdmmc4_dat7_paa7";
				nvidia,function = "sdmmc4";
				nvidia,pull = <TEGRA_PIN_PULL_UP>;
				nvidia,tristate = <TEGRA_PIN_DISABLE>;
				nvidia,enable-input = <TEGRA_PIN_ENABLE>;
			};

			/* PORT BB */
			cam1_rst {
				nvidia,pins = "pbb0";
				nvidia,function = "rsvd3";
				nvidia,pull = <TEGRA_PIN_PULL_NONE>;
				nvidia,tristate = <TEGRA_PIN_DISABLE>;
				nvidia,enable-input = <TEGRA_PIN_ENABLE>;
			};
			cam_i2c {
				nvidia,pins = "cam_i2c_scl_pbb1",
						"cam_i2c_sda_pbb2";
				nvidia,function = "i2c3";
				nvidia,pull = <TEGRA_PIN_PULL_NONE>;
				nvidia,tristate = <TEGRA_PIN_DISABLE>;
				nvidia,enable-input = <TEGRA_PIN_ENABLE>;
				nvidia,open-drain = <TEGRA_PIN_ENABLE>;
			};
			per_flash_en {
				nvidia,pins = "pbb3";
				nvidia,function = "vgp3";
				nvidia,pull = <TEGRA_PIN_PULL_NONE>;
				nvidia,tristate = <TEGRA_PIN_DISABLE>;
				nvidia,enable-input = <TEGRA_PIN_DISABLE>;
			};
			cam_vddio_1v8_en {
				nvidia,pins = "pbb4";
				nvidia,function = "vgp4";
				nvidia,pull = <TEGRA_PIN_PULL_NONE>;
				nvidia,tristate = <TEGRA_PIN_DISABLE>;
				nvidia,enable-input = <TEGRA_PIN_ENABLE>;
			};
			cam1_vcm_pd {
				nvidia,pins = "pbb5";
				nvidia,function = "vgp5";
				nvidia,pull = <TEGRA_PIN_PULL_NONE>;
				nvidia,tristate = <TEGRA_PIN_DISABLE>;
				nvidia,enable-input = <TEGRA_PIN_ENABLE>;
			};
			aud_remo_pres {
				nvidia,pins = "pbb6";
				nvidia,function = "vgp6";
				nvidia,pull = <TEGRA_PIN_PULL_NONE>;
				nvidia,tristate = <TEGRA_PIN_DISABLE>;
				nvidia,enable-input = <TEGRA_PIN_ENABLE>;
			};
			front_cam_standby {
				nvidia,pins = "pbb7";
				nvidia,function = "rsvd3";
				nvidia,pull = <TEGRA_PIN_PULL_NONE>;
				nvidia,tristate = <TEGRA_PIN_DISABLE>;
				nvidia,enable-input = <TEGRA_PIN_ENABLE>;
			};

			/* PORT CC */
			cam_mclk {
				nvidia,pins = "cam_mclk_pcc0";
				nvidia,function = "vi_alt3";
				nvidia,pull = <TEGRA_PIN_PULL_NONE>;
				nvidia,tristate = <TEGRA_PIN_DISABLE>;
				nvidia,enable-input = <TEGRA_PIN_ENABLE>;
			};
			cam_sel {
				nvidia,pins = "pcc1";
				nvidia,function = "rsvd3";
				nvidia,pull = <TEGRA_PIN_PULL_NONE>;
				nvidia,tristate = <TEGRA_PIN_DISABLE>;
				nvidia,enable-input = <TEGRA_PIN_ENABLE>;
			};
			pwr_themp_alert_int {
				nvidia,pins = "pcc2";
				nvidia,function = "rsvd3";
				nvidia,pull = <TEGRA_PIN_PULL_UP>;
				nvidia,tristate = <TEGRA_PIN_DISABLE>;
				nvidia,enable-input = <TEGRA_PIN_ENABLE>;
			};
			bsp_emmc_resout {
				nvidia,pins = "sdmmc4_rst_n_pcc3";
				nvidia,function = "rsvd2";
				nvidia,pull = <TEGRA_PIN_PULL_NONE>;
				nvidia,tristate = <TEGRA_PIN_DISABLE>;
				nvidia,enable-input = <TEGRA_PIN_ENABLE>;
			};
			bsp_emmc_clk {
				nvidia,pins = "sdmmc4_clk_pcc4";
				nvidia,function = "sdmmc4";
				nvidia,pull = <TEGRA_PIN_PULL_NONE>;
				nvidia,tristate = <TEGRA_PIN_DISABLE>;
				nvidia,enable-input = <TEGRA_PIN_ENABLE>;
			};
			aud_dock_out_en {
				nvidia,pins = "clk2_req_pcc5";
				nvidia,function = "rsvd4";
				nvidia,pull = <TEGRA_PIN_PULL_NONE>;
				nvidia,tristate = <TEGRA_PIN_DISABLE>;
				nvidia,enable-input = <TEGRA_PIN_DISABLE>;
			};

			/* PORT DD */
			/* PORT EE */
			clk3_out {
				nvidia,pins = "clk3_out_pee0";
				nvidia,function = "extperiph3";
				nvidia,pull = <TEGRA_PIN_PULL_NONE>;
				nvidia,tristate = <TEGRA_PIN_DISABLE>;
				nvidia,enable-input = <TEGRA_PIN_DISABLE>;
			};
			raw_intr1 {
				nvidia,pins = "clk3_req_pee1";
				nvidia,function = "rsvd4";
				nvidia,pull = <TEGRA_PIN_PULL_NONE>;
				nvidia,tristate = <TEGRA_PIN_ENABLE>;
				nvidia,enable-input = <TEGRA_PIN_ENABLE>;
			};
			clk1_req {
				nvidia,pins = "clk1_req_pee2";
				nvidia,function = "dap";
				nvidia,pull = <TEGRA_PIN_PULL_NONE>;
				nvidia,tristate = <TEGRA_PIN_DISABLE>;
				nvidia,enable-input = <TEGRA_PIN_ENABLE>;
			};
			hdmi_cec {
				nvidia,pins = "hdmi_cec_pee3";
				nvidia,function = "cec";
				nvidia,pull = <TEGRA_PIN_PULL_NONE>;
				nvidia,tristate = <TEGRA_PIN_DISABLE>;
				nvidia,enable-input = <TEGRA_PIN_ENABLE>;
			};
			owr {
				nvidia,pins = "owr";
				nvidia,function = "owr";
				nvidia,pull = <TEGRA_PIN_PULL_UP>;
				nvidia,tristate = <TEGRA_PIN_DISABLE>;
				nvidia,enable-input = <TEGRA_PIN_ENABLE>;
			};
		};
	};

	uarta: serial@70006000 {
		status = "okay";
	};

	pwr_i2c: i2c@7000d000 {
		status = "okay";
		clock-frequency = <100000>;

		/* Texas Instruments TPS80032 PMIC */
		pmic: tps80032@48 {
			compatible = "ti,tps80032";
			reg = <0x48>;

			ti,system-power-controller;

			regulators {
				vdd_1v8_vio: smps5 {
					regulator-name = "vdd_1v8_gen";
					regulator-min-microvolt = <1800000>;
					regulator-max-microvolt = <1800000>;
					regulator-always-on;
					regulator-boot-on;
				};

				/* DSI VDD */
				avdd_dsi_csi: ldo1 {
					regulator-name = "avdd_dsi_csi";
					regulator-min-microvolt = <1200000>;
					regulator-max-microvolt = <1200000>;
					regulator-boot-on;
				};
			};
		};
	};

	sdmmc4: sdhci@78000600 {
		status = "okay";
		bus-width = <8>;
		non-removable;

		vmmc-supply = <&vcore_emmc>;
		vqmmc-supply = <&vdd_1v8_vio>;
	};

	micro_usb: usb@7d000000 {
		status = "okay";
		dr_mode = "otg";
	};

	usb-phy@7d000000 {
		status = "okay";
		nvidia,hssync-start-delay = <0>;
		nvidia,xcvr-lsfslew = <2>;
		nvidia,xcvr-lsrslew = <2>;
	};

	backlight: backlight {
		compatible = "nvidia,tegra-pwm-backlight";

		nvidia,pwm-source = <1>;
		nvidia,default-brightness = <0x8E>;
	};

	/* PMIC has a built-in 32KHz oscillator which is used by PMC */
	clk32k_in: clock-32k {
		compatible = "fixed-clock";
		#clock-cells = <0>;
		clock-frequency = <32768>;
		clock-output-names = "pmic-oscillator";
	};

	gpio-keys {
		compatible = "gpio-keys";

		key-power {
			label = "Power";
			gpios = <&gpio TEGRA_GPIO(U, 6) GPIO_ACTIVE_LOW>;
			linux,code = <KEY_ENTER>;
		};

		key-volume-up {
			label = "Volume Up";
			gpios = <&gpio TEGRA_GPIO(S, 0) GPIO_ACTIVE_LOW>;
			linux,code = <KEY_UP>;
		};

		key-volume-down {
			label = "Volume Down";
			gpios = <&gpio TEGRA_GPIO(W, 3) GPIO_ACTIVE_LOW>;
			linux,code = <KEY_DOWN>;
		};
	};

	panel: panel {
		compatible = "htc,edge-panel";

		reset-gpios = <&gpio TEGRA_GPIO(N, 6) GPIO_ACTIVE_LOW>;

		vdd-supply = <&vdd_3v3_panel>;
		vddio-supply = <&vdd_1v8_panel>;

		backlight = <&backlight>;
	};

	vcore_emmc: regulator-emmc {
		compatible = "regulator-fixed";
		regulator-name = "vdd_2v85_sdmmc";
		regulator-min-microvolt = <2850000>;
		regulator-max-microvolt = <2850000>;
		gpio = <&gpio TEGRA_GPIO(M, 3) GPIO_ACTIVE_HIGH>;
		enable-active-high;
	};

	vdd_3v3_panel: regulator-lcm {
		compatible = "regulator-fixed";
		regulator-name = "v_lcm_3v3";
		regulator-min-microvolt = <3300000>;
		regulator-max-microvolt = <3300000>;
		gpio = <&gpio TEGRA_GPIO(E, 2) GPIO_ACTIVE_HIGH>;
		enable-active-high;
	};

	vdd_1v8_panel: regulator-lcmio {
		compatible = "regulator-fixed";
		regulator-name = "v_lcmio_1v8";
		regulator-min-microvolt = <1800000>;
		regulator-max-microvolt = <1800000>;
		gpio = <&gpio TEGRA_GPIO(E, 5) GPIO_ACTIVE_HIGH>;
		enable-active-high;
	};
};
